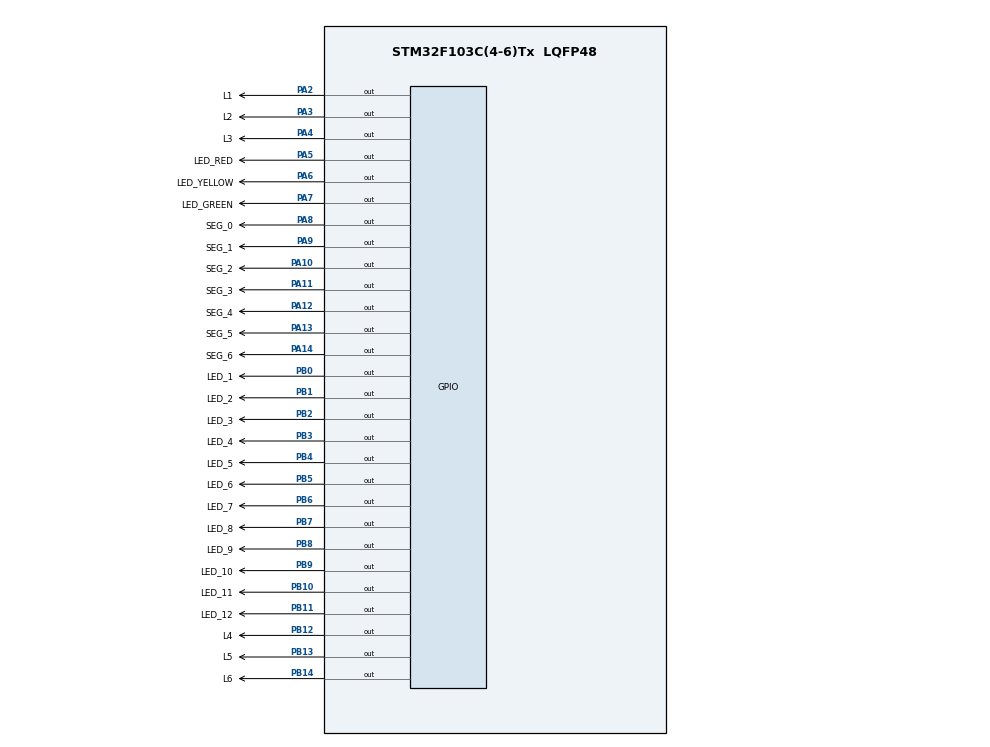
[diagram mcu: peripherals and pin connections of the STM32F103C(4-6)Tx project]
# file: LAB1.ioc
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Mcu.Family=STM32F1
Mcu.Name=STM32F103C(4-6)Tx
Mcu.Package=LQFP48
NVIC.PriorityGroup=NVIC_PRIORITYGROUP_4
PA10.GPIO_Label=SEG_2
PA10.Signal=GPIO_Output
PA11.GPIO_Label=SEG_3
PA11.Signal=GPIO_Output
PA12.GPIO_Label=SEG_4
PA12.Signal=GPIO_Output
PA13.GPIO_Label=SEG_5
PA13.Signal=GPIO_Output
PA14.GPIO_Label=SEG_6
PA14.Signal=GPIO_Output
PA2.GPIO_Label=L1
PA2.Signal=GPIO_Output
PA3.GPIO_Label=L2
PA3.Signal=GPIO_Output
PA4.GPIO_Label=L3
PA4.Signal=GPIO_Output
PA5.GPIO_Label=LED_RED
PA5.Signal=GPIO_Output
PA6.GPIO_Label=LED_YELLOW
PA6.Signal=GPIO_Output
PA7.GPIO_Label=LED_GREEN
PA7.Signal=GPIO_Output
PA8.GPIO_Label=SEG_0
PA8.Signal=GPIO_Output
PA9.GPIO_Label=SEG_1
PA9.Signal=GPIO_Output
PB0.GPIO_Label=LED_1
PB0.Signal=GPIO_Output
PB1.GPIO_Label=LED_2
PB1.Signal=GPIO_Output
PB10.GPIO_Label=LED_11
PB10.Signal=GPIO_Output
PB11.GPIO_Label=LED_12
PB11.Signal=GPIO_Output
PB12.GPIO_Label=L4
PB12.Signal=GPIO_Output
PB13.GPIO_Label=L5
PB13.Signal=GPIO_Output
PB14.GPIO_Label=L6
PB14.Signal=GPIO_Output
PB2.GPIO_Label=LED_3
PB2.Signal=GPIO_Output
PB3.GPIO_Label=LED_4
PB3.Signal=GPIO_Output
PB4.GPIO_Label=LED_5
PB4.Signal=GPIO_Output
PB5.GPIO_Label=LED_6
PB5.Signal=GPIO_Output
PB6.GPIO_Label=LED_7
PB6.Signal=GPIO_Output
PB7.GPIO_Label=LED_8
PB7.Signal=GPIO_Output
PB8.GPIO_Label=LED_9
PB8.Signal=GPIO_Output
PB9.GPIO_Label=LED_10
PB9.Signal=GPIO_Output
ProjectManager.HeapSize=0x200
ProjectManager.StackSize=0x400
ProjectManager.TargetToolchain=STM32CubeIDE
RCC.APB1Freq_Value=8000000
RCC.APB2Freq_Value=8000000
VP_SYS_VS_ND.Mode=No_Debug
board=custom

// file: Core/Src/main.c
/* USER CODE BEGIN Header */
/**
  ******************************************************************************
  * @file           : main.c
  * @brief          : Main program body
  ******************************************************************************
  * @attention
  *
  * <h2><center>&copy; Copyright (c) 2024 STMicroelectronics.
  * All rights reserved.</center></h2>
  *
  * This software component is licensed by ST under BSD 3-Clause license,
  * the "License"; You may not use this file except in compliance with the
  * License. You may obtain a copy of the License at:
  *                        opensource.org/licenses/BSD-3-Clause
  *
  ******************************************************************************
  */
/* USER CODE END Header */
#include "main.h"

void SystemClock_Config(void);
static void MX_GPIO_Init(void);
/* USER CODE BEGIN PFP */
void display7SEG(int num);
void display7SEG1(int num);
/* USER CODE END PFP */

int main(void)
{

  /* MCU Configuration--------------------------------------------------------*/

  /* Reset of all peripherals, Initializes the Flash interface and the Systick. */
  HAL_Init();

  /* Configure the system clock */
  SystemClock_Config();

  /* Initialize all configured peripherals */
  MX_GPIO_Init();
  /* USER CODE BEGIN 2 */
  int counter = 0;
  /* USER CODE END 2 */

  /* Infinite loop */
  /* USER CODE BEGIN WHILE */
  while (1)
  {
	  if (counter >= 10) counter = 0;
	  display7SEG(counter++);
	  HAL_Delay(1000);
    /* USER CODE END WHILE */

  }
}

void SystemClock_Config(void)
{
  RCC_OscInitTypeDef RCC_OscInitStruct = {0};
  RCC_ClkInitTypeDef RCC_ClkInitStruct = {0};

  /** Initializes the RCC Oscillators according to the specified parameters
  * in the RCC_OscInitTypeDef structure.
  */
  RCC_OscInitStruct.OscillatorType = RCC_OSCILLATORTYPE_HSI;
  RCC_OscInitStruct.HSIState = RCC_HSI_ON;
  RCC_OscInitStruct.HSICalibrationValue = RCC_HSICALIBRATION_DEFAULT;
  RCC_OscInitStruct.PLL.PLLState = RCC_PLL_NONE;
  if (HAL_RCC_OscConfig(&RCC_OscInitStruct) != HAL_OK)
  {
    Error_Handler();
  }
  /** Initializes the CPU, AHB and APB buses clocks
  */
  RCC_ClkInitStruct.ClockType = RCC_CLOCKTYPE_HCLK|RCC_CLOCKTYPE_SYSCLK
                              |RCC_CLOCKTYPE_PCLK1|RCC_CLOCKTYPE_PCLK2;
  RCC_ClkInitStruct.SYSCLKSource = RCC_SYSCLKSOURCE_HSI;
  RCC_ClkInitStruct.AHBCLKDivider = RCC_SYSCLK_DIV1;
  RCC_ClkInitStruct.APB1CLKDivider = RCC_HCLK_DIV1;
  RCC_ClkInitStruct.APB2CLKDivider = RCC_HCLK_DIV1;

  if (HAL_RCC_ClockConfig(&RCC_ClkInitStruct, FLASH_LATENCY_0) != HAL_OK)
  {
    Error_Handler();
  }
}

static void MX_GPIO_Init(void)
{
  GPIO_InitTypeDef GPIO_InitStruct = {0};

  /* GPIO Ports Clock Enable */
  __HAL_RCC_GPIOA_CLK_ENABLE();
  __HAL_RCC_GPIOB_CLK_ENABLE();

  /*Configure GPIO pin Output Level */
  HAL_GPIO_WritePin(GPIOA, L1_Pin|L2_Pin|L3_Pin|LED_RED_Pin
                          |LED_YELLOW_Pin|LED_GREEN_Pin|SEG_0_Pin|SEG_1_Pin
                          |SEG_2_Pin|SEG_3_Pin|SEG_4_Pin|SEG_5_Pin
                          |SEG_6_Pin, GPIO_PIN_RESET);

  /*Configure GPIO pin Output Level */
  HAL_GPIO_WritePin(GPIOB, LED_1_Pin|LED_2_Pin|LED_3_Pin|LED_11_Pin
                          |LED_12_Pin|L4_Pin|L5_Pin|L6_Pin
                          |LED_4_Pin|LED_5_Pin|LED_6_Pin|LED_7_Pin
                          |LED_8_Pin|LED_9_Pin|LED_10_Pin, GPIO_PIN_RESET);

  /*Configure GPIO pins : L1_Pin L2_Pin L3_Pin LED_RED_Pin
                           LED_YELLOW_Pin LED_GREEN_Pin SEG_0_Pin SEG_1_Pin
                           SEG_2_Pin SEG_3_Pin SEG_4_Pin SEG_5_Pin
                           SEG_6_Pin */
  GPIO_InitStruct.Pin = L1_Pin|L2_Pin|L3_Pin|LED_RED_Pin
                          |LED_YELLOW_Pin|LED_GREEN_Pin|SEG_0_Pin|SEG_1_Pin
                          |SEG_2_Pin|SEG_3_Pin|SEG_4_Pin|SEG_5_Pin
                          |SEG_6_Pin;
  GPIO_InitStruct.Mode = GPIO_MODE_OUTPUT_PP;
  GPIO_InitStruct.Pull = GPIO_NOPULL;
  GPIO_InitStruct.Speed = GPIO_SPEED_FREQ_LOW;
  HAL_GPIO_Init(GPIOA, &GPIO_InitStruct);

  /*Configure GPIO pins : LED_1_Pin LED_2_Pin LED_3_Pin LED_11_Pin
                           LED_12_Pin L4_Pin L5_Pin L6_Pin
                           LED_4_Pin LED_5_Pin LED_6_Pin LED_7_Pin
                           LED_8_Pin LED_9_Pin LED_10_Pin */
  GPIO_InitStruct.Pin = LED_1_Pin|LED_2_Pin|LED_3_Pin|LED_11_Pin
                          |LED_12_Pin|L4_Pin|L5_Pin|L6_Pin
                          |LED_4_Pin|LED_5_Pin|LED_6_Pin|LED_7_Pin
                          |LED_8_Pin|LED_9_Pin|LED_10_Pin;
  GPIO_InitStruct.Mode = GPIO_MODE_OUTPUT_PP;
  GPIO_InitStruct.Pull = GPIO_NOPULL;
  GPIO_InitStruct.Speed = GPIO_SPEED_FREQ_LOW;
  HAL_GPIO_Init(GPIOB, &GPIO_InitStruct);

}

/* USER CODE BEGIN 4 */
void display7SEG(int num) {
	switch (num) {
		case 0:
			HAL_GPIO_WritePin(GPIOA, SEG_0_Pin, RESET);
			HAL_GPIO_WritePin(GPIOA, SEG_1_Pin, RESET);
			HAL_GPIO_WritePin(GPIOA, SEG_2_Pin, RESET);
			HAL_GPIO_WritePin(GPIOA, SEG_3_Pin, RESET);
			HAL_GPIO_WritePin(GPIOA, SEG_4_Pin, RESET);
			HAL_GPIO_WritePin(GPIOA, SEG_5_Pin, RESET);
			HAL_GPIO_WritePin(GPIOA, SEG_6_Pin, SET);
			break;
		case 1:
			HAL_GPIO_WritePin(GPIOA, SEG_0_Pin, SET);
			HAL_GPIO_WritePin(GPIOA, SEG_1_Pin, RESET);
			HAL_GPIO_WritePin(GPIOA, SEG_2_Pin, RESET);
			HAL_GPIO_WritePin(GPIOA, SEG_3_Pin, SET);
			HAL_GPIO_WritePin(GPIOA, SEG_4_Pin, SET);
			HAL_GPIO_WritePin(GPIOA, SEG_5_Pin, SET);
			HAL_GPIO_WritePin(GPIOA, SEG_6_Pin, SET);
			break;
		case 2:
			HAL_GPIO_WritePin(GPIOA, SEG_0_Pin, RESET);
			HAL_GPIO_WritePin(GPIOA, SEG_1_Pin, RESET);
			HAL_GPIO_WritePin(GPIOA, SEG_2_Pin, SET);
			HAL_GPIO_WritePin(GPIOA, SEG_3_Pin, RESET);
			HAL_GPIO_WritePin(GPIOA, SEG_4_Pin, RESET);
			HAL_GPIO_WritePin(GPIOA, SEG_5_Pin, SET);
			HAL_GPIO_WritePin(GPIOA, SEG_6_Pin, RESET);
			break;
		case 3:
			HAL_GPIO_WritePin(GPIOA, SEG_0_Pin, RESET);
			HAL_GPIO_WritePin(GPIOA, SEG_1_Pin, RESET);
			HAL_GPIO_WritePin(GPIOA, SEG_2_Pin, RESET);
			HAL_GPIO_WritePin(GPIOA, SEG_3_Pin, RESET);
			HAL_GPIO_WritePin(GPIOA, SEG_4_Pin, SET);
			HAL_GPIO_WritePin(GPIOA, SEG_5_Pin, SET);
			HAL_GPIO_WritePin(GPIOA, SEG_6_Pin, RESET);
			break;
		case 4:
			HAL_GPIO_WritePin(GPIOA, SEG_0_Pin, SET);
			HAL_GPIO_WritePin(GPIOA, SEG_1_Pin, RESET);
			HAL_GPIO_WritePin(GPIOA, SEG_2_Pin, RESET);
			HAL_GPIO_WritePin(GPIOA, SEG_3_Pin, SET);
			HAL_GPIO_WritePin(GPIOA, SEG_4_Pin, SET);
			HAL_GPIO_WritePin(GPIOA, SEG_5_Pin, RESET);
			HAL_GPIO_WritePin(GPIOA, SEG_6_Pin, RESET);
			break;
		case 5:
			HAL_GPIO_WritePin(GPIOA, SEG_0_Pin, RESET);
			HAL_GPIO_WritePin(GPIOA, SEG_1_Pin, SET);
			HAL_GPIO_WritePin(GPIOA, SEG_2_Pin, RESET);
			HAL_GPIO_WritePin(GPIOA, SEG_3_Pin, RESET);
			HAL_GPIO_WritePin(GPIOA, SEG_4_Pin, SET);
			HAL_GPIO_WritePin(GPIOA, SEG_5_Pin, RESET);
			HAL_GPIO_WritePin(GPIOA, SEG_6_Pin, RESET);
			break;
		case 6:
			HAL_GPIO_WritePin(GPIOA, SEG_0_Pin, RESET);
			HAL_GPIO_WritePin(GPIOA, SEG_1_Pin, SET);
			HAL_GPIO_WritePin(GPIOA, SEG_2_Pin, RESET);
			HAL_GPIO_WritePin(GPIOA, SEG_3_Pin, RESET);
			HAL_GPIO_WritePin(GPIOA, SEG_4_Pin, RESET);
			HAL_GPIO_WritePin(GPIOA, SEG_5_Pin, RESET);
			HAL_GPIO_WritePin(GPIOA, SEG_6_Pin, RESET);
			break;
		case 7:
			HAL_GPIO_WritePin(GPIOA, SEG_0_Pin, RESET);
			HAL_GPIO_WritePin(GPIOA, SEG_1_Pin, RESET);
			HAL_GPIO_WritePin(GPIOA, SEG_2_Pin, RESET);
			HAL_GPIO_WritePin(GPIOA, SEG_3_Pin, SET);
			HAL_GPIO_WritePin(GPIOA, SEG_4_Pin, SET);
			HAL_GPIO_WritePin(GPIOA, SEG_5_Pin, SET);
			HAL_GPIO_WritePin(GPIOA, SEG_6_Pin, SET);
			break;
		case 8:
			HAL_GPIO_WritePin(GPIOA, SEG_0_Pin, RESET);
			HAL_GPIO_WritePin(GPIOA, SEG_1_Pin, RESET);
			HAL_GPIO_WritePin(GPIOA, SEG_2_Pin, RESET);
			HAL_GPIO_WritePin(GPIOA, SEG_3_Pin, RESET);
			HAL_GPIO_WritePin(GPIOA, SEG_4_Pin, RESET);
			HAL_GPIO_WritePin(GPIOA, SEG_5_Pin, RESET);
			HAL_GPIO_WritePin(GPIOA, SEG_6_Pin, RESET);
			break;
		case 9:
			HAL_GPIO_WritePin(GPIOA, SEG_0_Pin, RESET);
			HAL_GPIO_WritePin(GPIOA, SEG_1_Pin, RESET);
			HAL_GPIO_WritePin(GPIOA, SEG_2_Pin, RESET);
			HAL_GPIO_WritePin(GPIOA, SEG_3_Pin, RESET);
			HAL_GPIO_WritePin(GPIOA, SEG_4_Pin, SET);
			HAL_GPIO_WritePin(GPIOA, SEG_5_Pin, RESET);
			HAL_GPIO_WritePin(GPIOA, SEG_6_Pin, RESET);
			break;
		default:
			break;
	}
}
void display7SEG1(int num) {
	switch (num) {
		case 0:
			HAL_GPIO_WritePin(GPIOB, LED_1_Pin, RESET);
			HAL_GPIO_WritePin(GPIOB, LED_2_Pin, RESET);
			HAL_GPIO_WritePin(GPIOB, LED_3_Pin, RESET);
			HAL_GPIO_WritePin(GPIOB, LED_4_Pin, RESET);
			HAL_GPIO_WritePin(GPIOB, LED_5_Pin, RESET);
			HAL_GPIO_WritePin(GPIOB, LED_6_Pin, RESET);
			HAL_GPIO_WritePin(GPIOB, LED_7_Pin, SET);
			break;
		case 1:
			HAL_GPIO_WritePin(GPIOB, LED_1_Pin, SET);
			HAL_GPIO_WritePin(GPIOB, LED_2_Pin, RESET);
			HAL_GPIO_WritePin(GPIOB, LED_3_Pin, RESET);
			HAL_GPIO_WritePin(GPIOB, LED_4_Pin, SET);
			HAL_GPIO_WritePin(GPIOB, LED_5_Pin, SET);
			HAL_GPIO_WritePin(GPIOB, LED_6_Pin, SET);
			HAL_GPIO_WritePin(GPIOB, LED_7_Pin, SET);
			break;
		case 2:
			HAL_GPIO_WritePin(GPIOB, LED_1_Pin, RESET);
			HAL_GPIO_WritePin(GPIOB, LED_2_Pin, RESET);
			HAL_GPIO_WritePin(GPIOB, LED_3_Pin, SET);
			HAL_GPIO_WritePin(GPIOB, LED_4_Pin, RESET);
			HAL_GPIO_WritePin(GPIOB, LED_5_Pin, RESET);
			HAL_GPIO_WritePin(GPIOB, LED_6_Pin, SET);
			HAL_GPIO_WritePin(GPIOB, LED_7_Pin, RESET);
			break;
		case 3:
			HAL_GPIO_WritePin(GPIOB, LED_1_Pin, RESET);
			HAL_GPIO_WritePin(GPIOB, LED_2_Pin, RESET);
			HAL_GPIO_WritePin(GPIOB, LED_3_Pin, RESET);
			HAL_GPIO_WritePin(GPIOB, LED_4_Pin, RESET);
			HAL_GPIO_WritePin(GPIOB, LED_5_Pin, SET);
			HAL_GPIO_WritePin(GPIOB, LED_6_Pin, SET);
			HAL_GPIO_WritePin(GPIOB, LED_7_Pin, RESET);
			break;
		case 4:
			HAL_GPIO_WritePin(GPIOB, LED_1_Pin, SET);
			HAL_GPIO_WritePin(GPIOB, LED_2_Pin, RESET);
			HAL_GPIO_WritePin(GPIOB, LED_3_Pin, RESET);
			HAL_GPIO_WritePin(GPIOB, LED_4_Pin, SET);
			HAL_GPIO_WritePin(GPIOB, LED_5_Pin, SET);
			HAL_GPIO_WritePin(GPIOB, LED_6_Pin, RESET);
			HAL_GPIO_WritePin(GPIOB, LED_7_Pin, RESET);
			break;
		case 5:
			HAL_GPIO_WritePin(GPIOB, LED_1_Pin, RESET);
			HAL_GPIO_WritePin(GPIOB, LED_2_Pin, SET);
			HAL_GPIO_WritePin(GPIOB, LED_3_Pin, RESET);
			HAL_GPIO_WritePin(GPIOB, LED_4_Pin, RESET);
			HAL_GPIO_WritePin(GPIOB, LED_5_Pin, SET);
			HAL_GPIO_WritePin(GPIOB, LED_6_Pin, RESET);
			HAL_GPIO_WritePin(GPIOB, LED_7_Pin, RESET);
			break;
		case 6:
			HAL_GPIO_WritePin(GPIOB, LED_1_Pin, RESET);
			HAL_GPIO_WritePin(GPIOB, LED_2_Pin, SET);
			HAL_GPIO_WritePin(GPIOB, LED_3_Pin, RESET);
			HAL_GPIO_WritePin(GPIOB, LED_4_Pin, RESET);
			HAL_GPIO_WritePin(GPIOB, LED_5_Pin, RESET);
			HAL_GPIO_WritePin(GPIOB, LED_6_Pin, RESET);
			HAL_GPIO_WritePin(GPIOB, LED_7_Pin, RESET);
			break;
		case 7:
			HAL_GPIO_WritePin(GPIOB, LED_1_Pin, RESET);
			HAL_GPIO_WritePin(GPIOB, LED_2_Pin, RESET);
			HAL_GPIO_WritePin(GPIOB, LED_3_Pin, RESET);
			HAL_GPIO_WritePin(GPIOB, LED_4_Pin, SET);
			HAL_GPIO_WritePin(GPIOB, LED_5_Pin, SET);
			HAL_GPIO_WritePin(GPIOB, LED_6_Pin, SET);
			HAL_GPIO_WritePin(GPIOB, LED_7_Pin, SET);
			break;
		case 8:
			HAL_GPIO_WritePin(GPIOB, LED_1_Pin, RESET);
			HAL_GPIO_WritePin(GPIOB, LED_2_Pin, RESET);
			HAL_GPIO_WritePin(GPIOB, LED_3_Pin, RESET);
			HAL_GPIO_WritePin(GPIOB, LED_4_Pin, RESET);
			HAL_GPIO_WritePin(GPIOB, LED_5_Pin, RESET);
			HAL_GPIO_WritePin(GPIOB, LED_6_Pin, RESET);
			HAL_GPIO_WritePin(GPIOB, LED_7_Pin, RESET);
			break;
		case 9:
			HAL_GPIO_WritePin(GPIOB, LED_1_Pin, RESET);
			HAL_GPIO_WritePin(GPIOB, LED_2_Pin, RESET);
			HAL_GPIO_WritePin(GPIOB, LED_3_Pin, RESET);
			HAL_GPIO_WritePin(GPIOB, LED_4_Pin, RESET);
			HAL_GPIO_WritePin(GPIOB, LED_5_Pin, SET);
			HAL_GPIO_WritePin(GPIOB, LED_6_Pin, RESET);
			HAL_GPIO_WritePin(GPIOB, LED_7_Pin, RESET);
			break;
		default:
			break;
	}
}
/* USER CODE END 4 */

void Error_Handler(void)
{
  __disable_irq();
  while (1)
  {
  }
}

/************************ (C) COPYRIGHT STMicroelectronics *****END OF FILE****/
